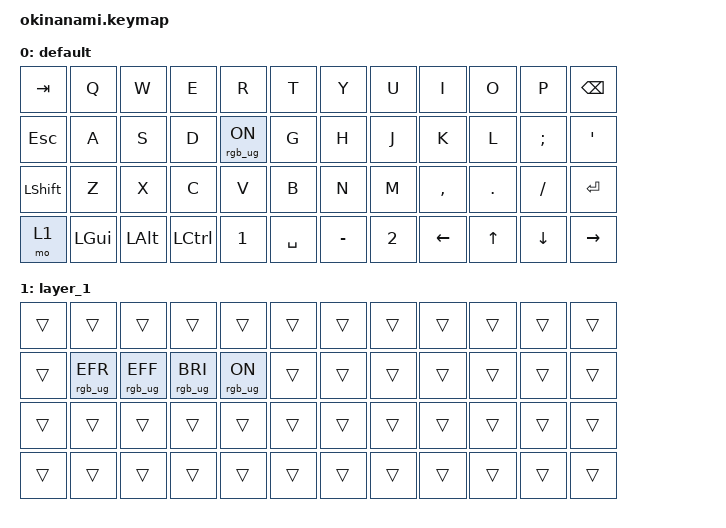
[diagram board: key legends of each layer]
/*
 * Copyright (c) 2024 The ZMK Contributors
 *
 * SPDX-License-Identifier: MIT
 */

#include <behaviors.dtsi>
#include <dt-bindings/zmk/keys.h>
#include <dt-bindings/zmk/rgb.h>

/ {
    keymap {
        compatible = "zmk,keymap";

        default {
            bindings = <
&kp TAB    &kp Q     &kp W     &kp E      &kp R           &kp T      &kp Y      &kp U   &kp I      &kp O    &kp P     &kp BSPC
&kp ESC    &kp A     &kp S     &kp D      &rgb_ug RGB_ON  &kp G      &kp H      &kp J   &kp K      &kp L    &kp SEMI  &kp APOS
&kp LSHFT  &kp Z     &kp X     &kp C      &kp V           &kp B      &kp N      &kp M   &kp COMMA  &kp DOT  &kp FSLH  &kp RET
&mo 1      &kp LGUI  &kp LALT  &kp LCTRL  &kp N1          &kp SPACE  &kp MINUS  &kp N2  &kp LEFT   &kp UP   &kp DOWN  &kp RIGHT
            >;
        };

        layer_1 {
            bindings = <
&trans  &trans           &trans           &trans           &trans          &trans  &trans  &trans  &trans  &trans  &trans  &trans
&trans  &rgb_ug RGB_EFR  &rgb_ug RGB_EFF  &rgb_ug RGB_BRI  &rgb_ug RGB_ON  &trans  &trans  &trans  &trans  &trans  &trans  &trans
&trans  &trans           &trans           &trans           &trans          &trans  &trans  &trans  &trans  &trans  &trans  &trans
&trans  &trans           &trans           &trans           &trans          &trans  &trans  &trans  &trans  &trans  &trans  &trans
            >;
        };
    };
};
